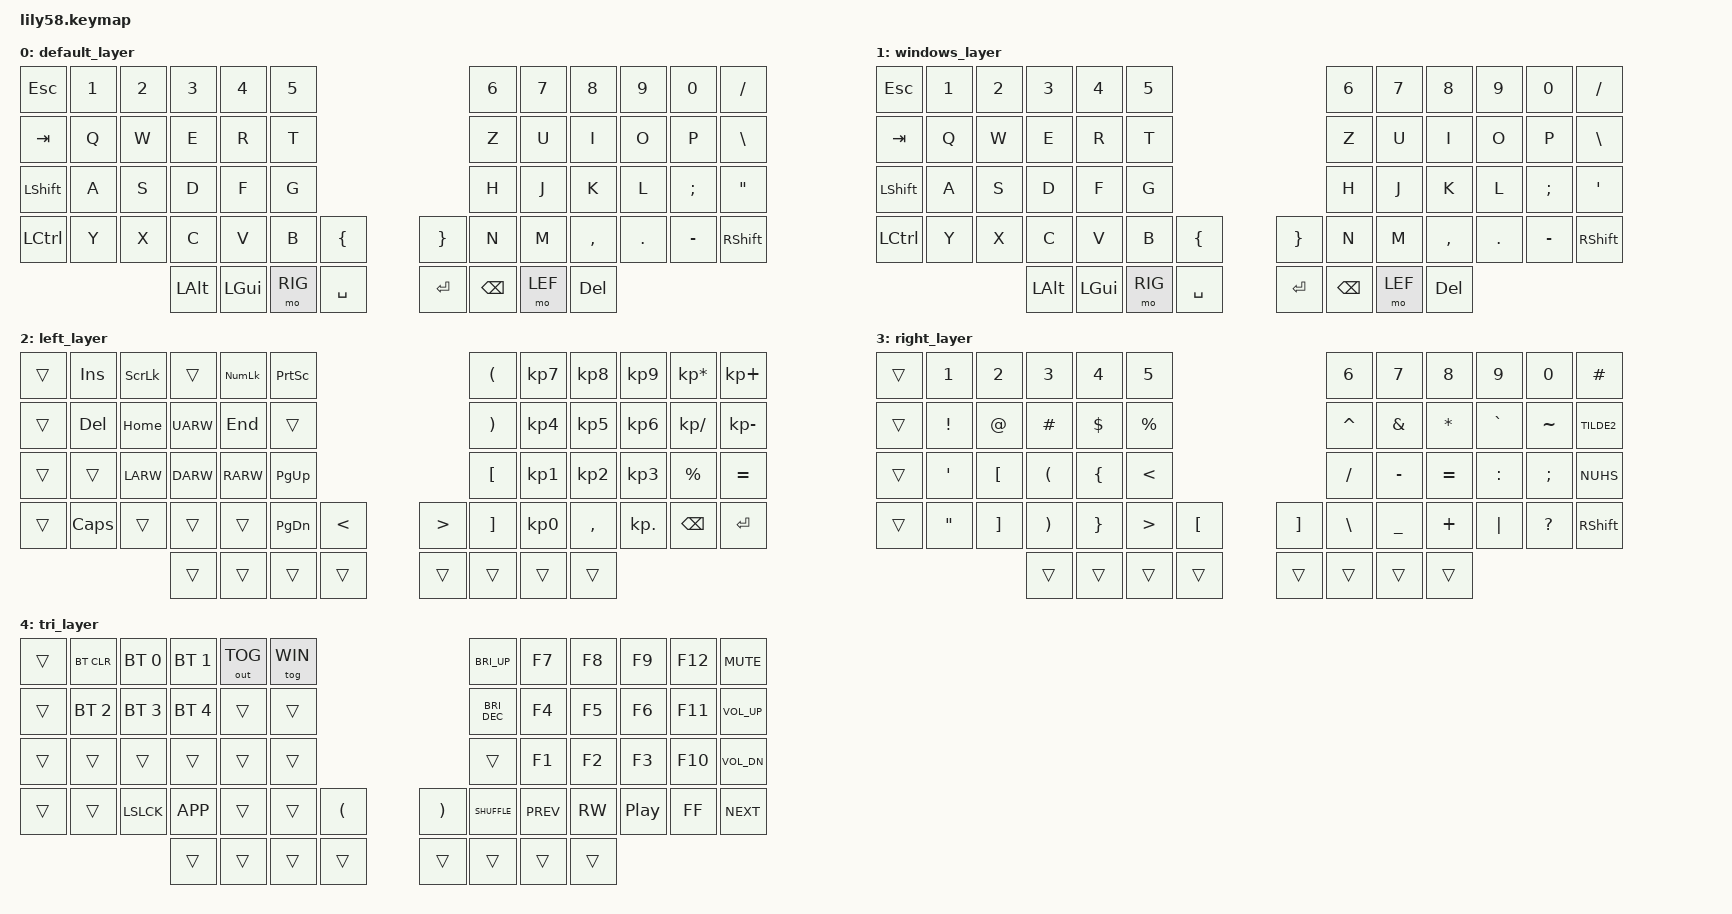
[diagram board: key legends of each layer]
// Copyright (c) 2022 The ZMK Contributors
// SPDX-License-Identifier: MIT
// Dimi

#include <behaviors.dtsi>
#include <dt-bindings/zmk/keys.h>
#include <dt-bindings/zmk/bt.h>
#include <dt-bindings/zmk/outputs.h>

#define MAC 0
#define WIN 1
#define RIG 2
#define LEF 3
#define TRI 4

/ {
    behaviors {
        ht: hold_tap {
            label = "hold_tap";
            compatible = "zmk,behavior-hold-tap";
            #binding-cells = <2>;
            flavor = "tap-preferred";
            tapping-term-ms = <220>;
            quick-tap-ms = <150>;
            global-quick-tap;
            bindings = <&kp>, <&kp>;
        };
    };

    conditional_layers {
        compatible = "zmk,conditional-layers";
        tri_layer {
            if-layers = <RIG LEF>;
            then-layer = <TRI>;
        };
    };

    keymap {
        compatible = "zmk,keymap";
        default_layer {
            bindings = <
//╭──────────┬──────────┬──────────┬──────────┬──────────┬──────────╮			      ╭──────────┬──────────┬──────────┬──────────┬──────────┬──────────╮
//│    ESC   │    1 !   │    2 @   │    3 #   │    4 $   │    5 %   │			      │    6 ^   │    7 &   │    8 *   │    9 (   │    0 )   │    ? /   │
   &kp ESC    &kp N1     &kp N2     &kp N3     &kp N4     &kp N5    			       &kp N6     &kp N7     &kp N8     &kp N9     &kp N0     &kp FSLH
//├──────────┼──────────┼──────────┼──────────┼──────────┼──────────┤			      ├──────────┼──────────┼──────────┼──────────┼──────────┼──────────┤
//│    TAB   │     Q    │     W    │     E    │     R    │     T    │			      │     Z    │     U    │     I    │     O    │     P    │    \ |   │
   &kp TAB    &kp Q      &kp W      &kp E      &kp R      &kp T      		               &kp Z      &kp U      &kp I      &kp O      &kp P      &kp BSLH
//├──────────┼──────────┼──────────┼──────────┼──────────┼──────────┤			      ├──────────┼──────────┼──────────┼──────────┼──────────┼──────────┤
//│   LSHFT  │     A    │     S    │     D    │     F    │     G    │			      │     H    │     J    │     K    │     L    │    ; :   │    ' "   │
   &kp LSHFT  &kp A      &kp S      &kp D      &kp F      &kp G     			       &kp H      &kp J      &kp K      &kp L      &kp SEMI   &kp DQT
//├──────────┼──────────┼─ ────────┼──────────┼──────────┼──────────┼──────────╮   ╭──────────┼──────────┼──────────┼──────────┼──────────┼──────────┼──────────┤
//│   LCTRL  │     Y    │     X    │     C    │     V    │     B    │    { [   │   │   ] }    │     N    │     M    │    , <   │    . >   │    - _   │   RSHFT  │
   &kp LCTRL  &kp Y      &kp X      &kp C      &kp V      &kp B      &kp LBRC	    &kp RBRC   &kp N      &kp M      &kp COMMA  &kp DOT    &kp MINUS  &kp RSHFT
//╰──────────┴──────────┴──────────┼──────────┼──────────┼──────────┼──────────╮   ╭──────────┼──────────┼──────────┼──────────┼──────────┴──────────┴──────────╯
//  				   │   LALT   │   LGUI   │   RIG    │   SPACE  │   │   ENTR   │   BCSP   │    LEF   │    DEL   │
				    &kp LALT   &kp LGUI   &mo RIG    &kp SPACE	    &kp	ENTER  &kp BSPC    &mo LEF   &kp DEL
//				   ╰──────────┴──────────┴──────────┴──────────╯   ╰──────────┴──────────┴──────────┴──────────╯
            >;
        };

        windows_layer {
            bindings = <
//╭──────────┬──────────┬──────────┬──────────┬──────────┬──────────╮			      ╭──────────┬──────────┬──────────┬──────────┬──────────┬──────────╮
//│    ESC   │    1 !   │    2 @   │    3 #   │    4 $   │    5 %   │			      │    6 ^   │    7 &   │    8 *   │    9 (   │    0 )   │    ? /   │
   &kp ESC    &kp N1     &kp N2     &kp N3     &kp N4     &kp N5    			       &kp N6     &kp N7     &kp N8     &kp N9     &kp N0     &kp FSLH
//├──────────┼──────────┼──────────┼──────────┼──────────┼──────────┤			      ├──────────┼──────────┼──────────┼──────────┼──────────┼──────────┤
//│    TAB   │     Q    │     W    │     E    │     R    │     T    │			      │     Z    │     U    │     I    │     O    │     P    │    \ |   │
   &kp TAB    &kp Q      &kp W      &kp E      &kp R      &kp T      		               &kp Z      &kp U      &kp I      &kp O      &kp P      &kp BSLH
//├──────────┼──────────┼──────────┼──────────┼──────────┼──────────┤			      ├──────────┼──────────┼──────────┼──────────┼──────────┼──────────┤
//│   LSHFT  │     A    │     S    │     D    │     F    │     G    │			      │     H    │     J    │     K    │     L    │    ; :   │    ' "   │
   &kp LSHFT  &kp A      &kp S      &kp D      &kp F      &kp G     			       &kp H      &kp J      &kp K      &kp L      &kp SEMI   &kp SQT
//├──────────┼──────────┼─ ────────┼──────────┼──────────┼──────────┼──────────╮   ╭──────────┼──────────┼──────────┼──────────┼──────────┼──────────┼──────────┤
//│   LCTRL  │     Y    │     X    │     C    │     V    │     B    │     {    │   │    }     │     N    │     M    │    , <   │    . >   │    - _   │   RSHFT  │
   &kp LCTRL  &kp Y      &kp X      &kp C      &kp V      &kp B      &kp LBRC	    &kp RBRC   &kp N      &kp M      &kp COMMA  &kp DOT    &kp MINUS  &kp RSHFT
//╰──────────┴──────────┴──────────┼──────────┼──────────┼──────────┼──────────╮   ╭──────────┼──────────┼──────────┼──────────┼──────────┴──────────┴──────────╯
//  				   │   LALT   │   LGUI   │   RIG    │   SPACE  │   │   ENTR   │   BCKP   │    LEF   │    DEL   │
				    &kp LALT   &kp LGUI   &mo RIG    &kp SPACE	    &kp	ENTER  &kp BSPC    &mo LEF   &kp DEL
//				   ╰──────────┴──────────┴──────────┴──────────╯   ╰──────────┴──────────┴──────────┴──────────╯
            >;
        };

        left_layer {
            bindings = <
//╭──────────┬──────────┬──────────┬──────────┬──────────┬──────────╮			      ╭──────────┬──────────┬──────────┬──────────┬──────────┬──────────╮
//│    ESC   │   INSRT  │SCROLLLOCK│          │  NUMLCK  │PRINT_SCRN│			      │     (    │     7    │     8    │     9    │     *    │     +    │
   &trans     &kp INS    &kp SLCK   &trans     &kp KP_NUMLOCK &kp PSCRN   		       &kp LPAR   &kp KP_N7  &kp KP_N8  &kp KP_N9  &kp KP_MULTIPLY &kp KP_PLUS
//├──────────┼──────────┼──────────┼──────────┼──────────┼──────────┤			      ├──────────┼──────────┼──────────┼──────────┼──────────┼──────────┤
//│    TAB   │    DEL   │   POS1   │    UP    │    END   │          │			      │     (    │     4    │     5    │     6    │     /    │     -    │
   &trans     &kp DEL    &kp HOME   &kp UARW   &kp END    &trans		               &kp RPAR   &kp KP_N4  &kp KP_N5  &kp KP_N6  &kp KP_DIVIDE &kp KP_SUBTRACT
//├──────────┼──────────┼──────────┼──────────┼──────────┼──────────┤			      ├──────────┼──────────┼──────────┼──────────┼──────────┼──────────┤
//│   LSHFT  │          │   LEFT   │   DOWN   │   RIGHT  │  PAGE_UP │			      │     [    │     1    │     2    │     3    │     %    │     =    │
   &trans     &trans     &kp LARW   &kp DARW   &kp RARW   &kp PG_UP			       &kp LBKT   &kp KP_N1  &kp KP_N2  &kp KP_N3  &kp PRCNT  &kp EQUAL
//├──────────┼──────────┼─ ────────┼──────────┼──────────┼──────────┼──────────╮   ╭──────────┼──────────┼──────────┼──────────┼──────────┼──────────┼──────────┤
//│   LCTRL  │   CAPS   │          │          │          │  PG_DOWN │     <    │   │    >     │     ]    │     0    │     ,    │     .    │   BCSP   │   ENTR   │
   &trans     &kp CAPS   &trans    &trans      &trans     &kp PG_DN  &kp LT        &kp GT     &kp RBKT   &kp KP_N0  &kp COMMA  &kp KP_DOT &kp BSPC   &kp ENTER
//╰──────────┴──────────┴──────────┼──────────┼──────────┼──────────┼──────────╮   ╭──────────┼──────────┼──────────┼──────────┼──────────┴──────────┴──────────╯
//  				   │   LALT   │   LGUI   │   RIG    │   SPACE  │   │   ENTR   │   BCSP   │    LEF   │    DEL   │
				    &trans     &trans     &trans     &trans	    &trans     &trans     &trans     &trans
//				   ╰──────────┴──────────┴──────────┴──────────╯   ╰──────────┴──────────┴──────────┴──────────╯
            >;
        };

        right_layer {
            bindings = <
//╭──────────┬──────────┬──────────┬──────────┬──────────┬──────────╮			      ╭──────────┬──────────┬──────────┬──────────┬──────────┬──────────╮
//│    ESC   │    1 !   │    2 @   │    3 #   │    4 $   │    5 %   │			      │    6 ^   │    7 &   │    8 *   │    9 (   │    0 )   │     #    │
   &trans     &kp N1     &kp N2     &kp N3     &kp N4     &kp N5    			       &kp N6     &kp N7     &kp N8     &kp N9     &kp N0     &kp POUND
//├──────────┼──────────┼──────────┼──────────┼──────────┼──────────┤			      ├──────────┼──────────┼──────────┼──────────┼──────────┼──────────┤
//│    TAB   │     !    │     @    │     #    │     $    │     %    │			      │     ^    │     &    │     *    │     `    │     ~    │     ~    │
   &trans     &kp EXCL   &kp AT     &kp HASH   &kp DLLR   &kp PRCNT    		               &kp CARET  &kp AMPS   &kp ASTRK  &kp GRAVE  &kp TILDE  &kp TILDE2
//├──────────┼──────────┼──────────┼──────────┼──────────┼──────────┤			      ├──────────┼──────────┼──────────┼──────────┼──────────┼──────────┤
//│   LSHFT  │     '    │     [    │     (    │     {    │     <    │			      │     /    │     -    │     =    │     :    │     ;    │     #    │
   &trans     &kp SQT    &kp LBKT   &kp LPAR   &kp LBRC   &kp LT      			       &kp FSLH   &kp MINUS  &kp EQUAL  &kp COLON  &kp SEMI   &kp NUHS
//├──────────┼──────────┼─ ────────┼──────────┼──────────┼──────────┼──────────╮   ╭──────────┼──────────┼──────────┼──────────┼──────────┼──────────┼──────────┤
//│   LCTRL  │     "    │     ]    │     )    │     }    │     >    │     [    │   │     ]    │     \    │     _    │     +    │     │    │     ?    │   RSHFT  │
   &trans     &kp DQT    &kp RBKT   &kp RPAR   &kp RBRC   &kp GT     &kp LBKT	    &kp RBKT   &kp BSLH   &kp UNDER  &kp PLUS   &kp PIPE   &kp QMARK  &kp RSHFT
//╰──────────┴──────────┴──────────┼──────────┼──────────┼──────────┼──────────╮   ╭──────────┼──────────┼──────────┼──────────┼──────────┴──────────┴──────────╯
//  				   │   LALT   │   LGUI   │   RIG    │   SPACE  │   │   ENTR   │   BCSP   │    LEF   │    DEL   │
				    &trans     &trans     &trans     &trans	    &trans     &trans     &trans     &trans
//				   ╰──────────┴──────────┴──────────┴──────────╯   ╰──────────┴──────────┴──────────┴──────────╯
            >;
        };

        tri_layer {
            bindings = <
//╭──────────┬──────────┬──────────┬──────────┬──────────┬──────────╮			      ╭──────────┬──────────┬──────────┬──────────┬──────────┬──────────╮
//│    ESC   │ CLEAR BT │  PROF 0  │  PROF 1  │ TOGGLEOUT│ WINDOWS  │			      │ INCBRGHT │    F7    │    F8    │    F9    │    F12   │ VOL MUTE │
   &trans     &bt BT_CLR &bt BT_SEL 0 &bt BT_SEL 1 &out OUT_TOG &tog WIN		       &kp C_BRI_UP &kp F7   &kp F8     &kp F9     &kp F12    &kp C_MUTE
//├──────────┼──────────┼──────────┼──────────┼──────────┼──────────┤			      ├──────────┼──────────┼──────────┼──────────┼──────────┼──────────┤
//│    TAB   │  PROF 2  │  PROF 3  │  PROF 4  │          │          │			      │ DECBRGHT │    F4    │    F5    │    F6    │    F11   │  VOL UP  │
   &trans     &bt BT_SEL 2 &bt BT_SEL 3 &bt BT_SEL 4 &trans &trans     		               &kp C_BRI_DEC &kp F4  &kp F5     &kp F6     &kp F11    &kp C_VOL_UP
//├──────────┼──────────┼──────────┼──────────┼──────────┼──────────┤			      ├──────────┼──────────┼──────────┼──────────┼──────────┼──────────┤
//│   LSHFT  │          │          │          │          │          │			      │          │    F1    │    F2    │    F3    │    F10   │ VOL DOWN │
   &trans     &trans     &trans     &trans     &trans     &trans     			       &trans     &kp F1     &kp F2     &kp F3     &kp F10    &kp C_VOL_DN
//├──────────┼──────────┼─ ────────┼──────────┼──────────┼──────────┼──────────╮   ╭──────────┼──────────┼──────────┼──────────┼──────────┼──────────┼──────────┤
//│   LCTRL  │          │LSCRLLLOCK│    APP   │          │          │     (    │   │     )    │  SHUFFLE │ PREVSONG │  REWIND  │PAUSEMUSIC│FASTFOWARD│ NEXTSONG │
   &trans     &trans     &kp LSLCK  &kp K_APP  &trans     &trans     &kp LPAR 	    &kp RPAR   &kp C_SHUFFLE &kp C_PREV &kp C_RW &kp C_PP  &kp C_FF   &kp C_NEXT
//╰──────────┴──────────┴──────────┼──────────┼──────────┼──────────┼──────────╮   ╭──────────┼──────────┼──────────┼──────────┼──────────┴──────────┴──────────╯
//  				   │   LALT   │   LGUI   │   RIG    │   SPACE  │   │   ENTR   │   BCSP   │    LEF   │    DEL   │
				    &trans     &trans     &trans     &trans	    &trans     &trans     &trans     &trans
//				   ╰──────────┴──────────┴──────────┴──────────╯   ╰──────────┴──────────┴──────────┴──────────╯

            >;
        };
    };
};
